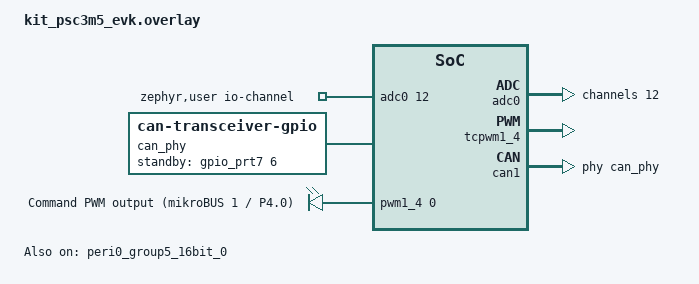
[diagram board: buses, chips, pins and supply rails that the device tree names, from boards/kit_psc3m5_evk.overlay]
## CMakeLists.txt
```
# SPDX-License-Identifier: Apache-2.0
#
# PSOC Control CAN Command & Telemetry lab - reference implementation.
#
# Build from the workspace root:
#
#   west build -b kit_psc3m6_evk -d build/lab -s <path-to-this-dir> -- \
#       '-DEXTRA_CONF_FILE=conf/role_command.conf'
#
# See ../../README.md and the lab guide for full instructions.

cmake_minimum_required(VERSION 3.20.0)

# On-board LED drive path select.
#
#   (default)        trigger-mux: route the real TCPWM PWM line to LED3
#                    (P8.4, alias led0) through the PSOC Control PERI
#                    trigger multiplexer. Hardware signal routing, no CPU
#                    in the path.
#   '-DLED_SOFTPWM=y'  fallback: bit-bang led0 from a dedicated thread.
#
# Both halves of the trigger-mux path (the source file selected by the
# Kconfig symbol and the devicetree overlay carrying the P8.4 pin-mux) are
# switched together here, so a single build flag is enough to change paths.
if(LED_SOFTPWM)
  list(APPEND EXTRA_CONF_FILE ${CMAKE_CURRENT_SOURCE_DIR}/conf/led_softpwm.conf)
else()
  list(APPEND EXTRA_DTC_OVERLAY_FILE ${CMAKE_CURRENT_SOURCE_DIR}/boards/led_trigmux.overlay)
endif()

find_package(Zephyr REQUIRED HINTS $ENV{ZEPHYR_BASE})
project(psoc_control_can_lab)

target_sources(app PRIVATE
  src/main.c
)

if(CONFIG_LAB_LED_TRIGMUX)
  target_sources(app PRIVATE src/lab_led_trigmux.c)
else()
  target_sources(app PRIVATE src/lab_led_softpwm.c)
endif()

if(CONFIG_LAB_ROLE_COMMAND)
  target_sources(app PRIVATE src/command_node.c)
elseif(CONFIG_LAB_ROLE_TELEMETRY)
  target_sources(app PRIVATE src/telemetry_node.c)
endif()
```

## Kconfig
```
# SPDX-License-Identifier: Apache-2.0
#
# PSOC Control CAN Command & Telemetry lab - node role select.
#
# Which role this build takes on is chosen by the EXTRA_CONF_FILE passed to
# `west build` (conf/role_command.conf or conf/role_telemetry.conf), not by
# editing this file directly.

mainmenu "PSOC Control CAN Command & Telemetry Lab"

choice LAB_ROLE
	prompt "CAN lab node role"
	optional
	help
	  Board A ("Command node") reads the onboard potentiometer and
	  transmits the resulting setpoint over CAN. Board B ("Telemetry
	  node") receives the setpoint over CAN and mirrors it on its own
	  LED. Both roles run from the same skeleton; only the role Kconfig
	  fragment differs at build time.

config LAB_ROLE_COMMAND
	bool "Command node (potentiometer -> local LED + CAN TX)"

config LAB_ROLE_TELEMETRY
	bool "Telemetry node (CAN RX -> LED mirror)"

endchoice

config LAB_LED_TRIGMUX
	bool "Drive the on-board LED from the TCPWM line via the PERI trigger mux"
	depends on PWM
	default y
	help
	  The default on-board LED drive path. P8.4 (LED3, alias led0) has no
	  TCPWM option in its HSIOM pin-mux table, so the real PWM waveform is
	  routed to it through the PSOC Control PERI trigger multiplexer, using
	  the pin's PERI_TR_IO_OUTPUT60 option. Brightness then costs a single
	  PWM register write, with no CPU in the signal path.

	  Zephyr has no trigger-mux binding yet, so the route is made with a
	  direct PDL Cy_TrigMux_Connect() call in src/lab_led_trigmux.c. The
	  pin-mux half comes from boards/led_trigmux.overlay, which the
	  application's CMakeLists.txt applies alongside this symbol.

	  Turn this off with '-DLED_SOFTPWM=y' on the west build command line
	  rather than editing a .conf file by hand; that selects the bit-banged
	  soft-PWM fallback in src/lab_led_softpwm.c instead.

source "Kconfig.zephyr"
```

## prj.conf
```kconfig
# SPDX-License-Identifier: Apache-2.0
#
# Reference solution config.

CONFIG_GPIO=y
CONFIG_CONSOLE=y
CONFIG_PRINTK=y
CONFIG_LOG=y
CONFIG_LOG_DEFAULT_LEVEL=3
CONFIG_LOG_MODE_IMMEDIATE=y

# Give the CAN/ADC/PWM init and soft-PWM thread a little more stack margin.
CONFIG_MAIN_STACK_SIZE=2048

# Driver subsystems used by this lab: ADC (potentiometer), PWM (brightness
# output), and CAN (setpoint TX/RX).
CONFIG_ADC=y
CONFIG_PWM=y
CONFIG_CAN=y

# The onboard TLE9251V CAN transceiver's standby pin (P7.6) is modelled as a
# can-transceiver-gpio node in the board overlay. The Infineon GPIO driver
# initialises at CONFIG_KERNEL_INIT_PRIORITY_DEVICE (50) rather than the usual
# CONFIG_GPIO_INIT_PRIORITY (40), so the transceiver's default priority of 45
# would run before its own GPIO port is ready. Move it after the GPIO driver
# but still before the CAN controller (CONFIG_CAN_INIT_PRIORITY=80).
CONFIG_CAN_TRANSCEIVER_INIT_PRIORITY=55
```

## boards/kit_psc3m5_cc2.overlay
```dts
/*
 * SPDX-License-Identifier: Apache-2.0
 *
 * PSOC Control CAN Command & Telemetry lab - devicetree overlay for
 * KIT_PSC3M5_CC2 (the MCU card inside the KIT_PSC3M5_MC1 motor-control kit).
 *
 * Shared by both roles (Command node and Telemetry node); only the
 * application code built on top differs.
 *
 * =====================================================================
 * HARDWARE-VALIDATED ON A REAL KIT_PSC3M5_CC2 (2026-09-22)
 * =====================================================================
 *
 * Boot, console, J-Link flashing and the ADC pot channel have all been
 * confirmed on physical hardware. The CAN chain is resolved from the
 * schematic and needs no devicetree transceiver node.
 *
 * P9.0 is net V2_H, a motor 2 inverter gate-drive signal on the Power Board
 * Connector X19. With no power board attached, X19 is an access header, so
 * the hardware-PWM node below is reachable with a probe or a 2-pin LED
 * harness. NEVER run this lab with a motor-control power board fitted.
 *
 * Hardware PWM still cannot reach an on-board LED: the user LEDs are on
 * P9.4/P9.5, which have no TCPWM option, so the lab keeps its software PWM.
 *
 * Everything here is derived from verified sources or measured on the board.
 */

#include <zephyr/dt-bindings/adc/adc.h>
#include <zephyr/dt-bindings/gpio/gpio.h>
#include <zephyr/dt-bindings/pwm/pwm.h>
#include <zephyr/dt-bindings/pwm/pwm_ifx_tcpwm.h>

/ {
	/*
	 * ==================================================================
	 * HPPASS SAR potentiometer channel - CONFIRMED ON HARDWARE
	 * ==================================================================
	 *
	 * Channel 12 is correct. This was measured on a real board on
	 * 2026-09-22, not inferred.
	 *
	 * The KIT_PSC3M5_CC2 ModusToolbox BSP routes the two pots to
	 *
	 *     pass[0].sar[0].muxed_sampler[0]   (CYBSP_POT / POT1)
	 *     pass[0].sar[0].muxed_sampler[1]   (CYBSP_POT2)
	 *
	 * Those are sampler indices, not channel numbers. Channels 12-15 are
	 * multiplexed onto sampler 0 and 16-19 onto sampler 1
	 * (adc_infineon_hppass_sar.c:115), so channel = 12 + 4*sampler + mux,
	 * giving POT1 = 12 and POT2 = 16, both on mux input 0 - the same
	 * input the other PSOC Control kits use.
	 *
	 * ------------------------------------------------------------------
	 * READ THIS BEFORE "FIXING" THIS NUMBER
	 * ------------------------------------------------------------------
	 * An on-board scan that declares channels 12..19 in one sequence will
	 * appear to show the pot on channel 13, not 12. That reading is an
	 * artefact of the driver, not the board. In a multi-channel sequence
	 * the results come back shifted by one position: the value printed
	 * for position N is the conversion of position N-1. Reordering the
	 * scan proved it - the full-scale reading followed the scan position,
	 * never the channel number.
	 *
	 * A single-channel build (only channel 12 declared) reads the pot
	 * correctly, because with one channel a shifted result is still that
	 * same channel. The lab only ever reads one channel, so it is not
	 * affected. See findings.md section 7.2.
	 */

	zephyr,user {
		io-channels = <&adc0 12>;
	};

	aliases {
		cmd-pwm = &pwm_cmd;
	};

	/*
	 * ==================================================================
	 * CAN transceiver control - nothing for software to do
	 * ==================================================================
	 *
	 * The CAN front end on KIT_PSC3M5_CC2 is galvanically isolated, so
	 * the signal passes through one more link than it would on a
	 * non-isolated board:
	 *
	 *   P6.3 CAN1_TX --> INA  ==||== OUTA --> TXD --+ TLE9371VSJ +-- CANH
	 *   P6.2 CAN1_RX <-- OUTB ==||== INB  <-- RXD --+  STB = GND +-- CANL
	 *                     2DIB1400F
	 *                  dual digital isolator
	 *
	 * Confirmed from the schematic:
	 *
	 *   - Pin direction matches this board's ModusToolbox BSP exactly:
	 *     P6.3 = CYBSP_CAN_TX, P6.2 = CYBSP_CAN_RX. Two independent
	 *     sources agree, so the pinctrl below is not an assumption.
	 *
	 *   - The TLE9371VSJ STB pin is tied DIRECTLY TO GND (the isolated
	 *     ground). STB is active high, so a hard ground means the
	 *     transceiver is permanently in normal mode.
	 *
	 * Consequences, and they are good ones:
	 *
	 *   - NO can-transceiver-gpio node is needed, and no `phys` property
	 *     on &can1. There is nothing for software to enable.
	 *
	 *   - The classic "bus-off ~1 ms after boot with the error counters
	 *     still reading zero" failure - a transceiver left in standby
	 *     because its STB pull-up was never released - cannot happen
	 *     here. It is designed out in hardware.
	 *
	 *   - The CAN path does not depend on a GPIO device being ready, so
	 *     GPIO driver init ordering cannot affect it either. The board's
	 *     Kconfig.defconfig still sets CAN_TRANSCEIVER_INIT_PRIORITY=55
	 *     defensively, for any future application that does add one.
	 *
	 * Validated on hardware: two boards, CANH/CANL/GND wired directly
	 * between them, no external supply or termination fitted. The
	 * isolated side is powered from the board and the link comes up.
	 */

	pwmleds {
		compatible = "pwm-leds";

		/*
		 * Command PWM output on P9.0.
		 *
		 * P9.0 is schematic net V2_H: motor 2, phase V, high-side
		 * gate drive, brought out on the Power Board Connector X19.
		 * The ModusToolbox motor-demo BSP aliases it TEST_PIN0, but
		 * that is a software alias, not a physical test point.
		 *
		 * WARNING - driving this pin is safe only with no
		 * motor-control power board attached, which is how the lab is
		 * run. With a power board fitted it would command a gate
		 * driver.
		 *
		 * P9.0 was chosen because it is one of the few free pins on
		 * this board with a DIRECT TCPWM HSIOM option - the 80-pin
		 * GPIO table gives P9_0_TCPWM0_LINE518 = HSIOM option 10, no
		 * PERI trigger mux required. The obvious alternative, the
		 * mikroBUS PWM pin (P0.1 / CYBSP_MIKROBUS_PWM), does NOT have
		 * one: its only non-GPIO options are PERI_TR_IO_INPUT1 and
		 * PERI_TR_IO_OUTPUT1.
		 *
		 * This does not reach an on-board LED - the user LEDs are on
		 * P9.4/P9.5, whose only non-GPIO HSIOM options are SCB0 SPI
		 * selects. Every pin on this board that does have a TCPWM
		 * route is inverter gate drive, so the lab keeps its software
		 * PWM for the on-board LED. That is the correct choice here,
		 * not a workaround.
		 */
		pwm_cmd: pwm_cmd_led {
			label = "Command PWM output (P9.0 / V2_H on X19)";
			pwms = <&pwm2_6 0 PWM_USEC(1000) PWM_POLARITY_NORMAL>;
		};
	};
};

&adc0 {
	status = "okay";
	#address-cells = <1>;
	#size-cells = <0>;

	/* POT1. Confirmed on hardware 2026-09-22 - see the block above. */
	channel@c {
		reg = <12>;
		zephyr,acquisition-time = <ADC_ACQ_TIME_DEFAULT>;
		zephyr,gain = "ADC_GAIN_1";
		zephyr,reference = "ADC_REF_INTERNAL";
		zephyr,resolution = <12>;
	};
};

&tcpwm2_6 {
	status = "okay";

	pwm2_6: pwm2_6 {
		status = "okay";
		clocks = <&peri0_group5_16bit_0>;
		pinctrl-0 = <&p9_0_pwm2_6>;
		pinctrl-names = "default";
	};
};

/*
 * tcpwm2_6 has clk-dst = <0x512>, i.e. peripheral group 5. The divider is
 * shared with &csg0, which the board dtsi sets to 2.
 *
 * 240 divides the 240 MHz peripheral clock to a 1 MHz counter, giving the
 * 1 kHz PWM above exactly 1000 brightness steps.
 *
 * This replaces an earlier 9600 (25 kHz counter, 50 Hz PWM). 50 Hz was slow
 * enough to see: measured on hardware 2026-10-02, the output flashed brightly
 * whenever the duty cycle changed quickly, because one disturbed period lasts
 * a full 20 ms. The TCPWM itself was cleared of blame first - CC0 and CC0_BUFF
 * tracked every request exactly and the counter was never restarted - so the
 * fix is the frequency, not the driver. At 1 kHz the same fade is smooth. */
&peri0_group5_16bit_0 {
	status = "okay";
	clock-div = <240>;
};

&pinctrl {
	p9_0_pwm2_6: p9_0_pwm2_6 {
		drive-push-pull;
	};
};

/* P9.0 (PWM, net V2_H) and P9.4/P9.5 (user LEDs). */
&gpio_prt9 {
	status = "okay";
};

/*
 * NOTE - no `phys` property and no transceiver node, deliberately.
 *
 * The TLE9371VSJ STB pin is hardwired to the isolated ground, so the
 * transceiver is always in normal mode and there is nothing for software to
 * enable. Adding a can-transceiver-gpio node here would be describing
 * hardware that does not exist. &can1 is enabled by the board dtsi and needs
 * no override.
 *
 * ---------------------------------------------------------------------
 * RESOLVED (measured on hardware, 2026-09-24) - 2DIB1400F fail-safe state
 * ---------------------------------------------------------------------
 *
 * Between the MCU and the transceiver sits a 2DIB1400F digital isolator.
 * Earlier datasheet review recorded its default output state as LOW, which
 * would have meant a latent hazard:
 *
 *     P6.3 undriven  ->  INA floating  ->  OUTA LOW  ->  TXD LOW
 *                     ->  transceiver drives a PERMANENT DOMINANT bit
 *
 * A stuck-dominant node does not merely fail itself, it jams the bus for
 * every other node on it. P6.3 is undriven from power-on until the CAN
 * driver applies pinctrl, and indefinitely if the board is unprogrammed,
 * held in reset, or halted at a debugger breakpoint before CAN init.
 *
 * THE HAZARD DOES NOT EXIST ON THIS BOARD. Measured with two boards on one
 * bus, no multimeter required. One board was held in its post-reset halted
 * state (JLink: connect / r / h / Sleep), which is the exact worst case -
 * peripherals reset, CAN pins back to Hi-Z inputs, isolator input undriven.
 * It was confirmed genuinely held by its console going completely silent.
 *
 * The surviving board then reported, once every 5 s:
 *
 *     CAN send failed (-11) state=2 tx_err=0 rx_err=123 (601 dropped)
 *
 * state=2 is CAN_STATE_ERROR_PASSIVE, not CAN_STATE_BUS_OFF (3), and the
 * error counters stayed pinned at 123 across four samples 15 s apart while
 * only the dropped counter advanced. That is the signature of losing the
 * ACK partner. A bus held dominant would instead produce continuous bit
 * errors, runaway counters and bus-off. So the isolator output does NOT
 * idle dominant when its input is undriven.
 *
 * Recovery is automatic: on release the held board rebooted, the link came
 * back with no power cycle and no intervention, and a following 15 s window
 * logged zero warnings on either node. An attendee can therefore reset or
 * reflash one board mid-lab without disturbing their partner's board beyond
 * a transient warning that clears itself.
 *
 * No devicetree mitigation is needed. This also means the rejected fix -
 * adding `bias-pull-up` to p6_3_can1_tx, which risked conflicting with
 * `drive-push-pull` in the Infineon cat1 pinctrl binding where drive mode
 * is a single register field rather than independent flags - stays
 * correctly rejected, now for a measured reason rather than caution.
 */
```

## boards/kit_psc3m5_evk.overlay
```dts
/*
 * SPDX-License-Identifier: Apache-2.0
 *
 * PSOC Control CAN Command & Telemetry lab - devicetree overlay
 * (reference solution).
 *
 * Shared by both roles (Command node and Telemetry node) - the physical
 * board is identical either way, only the application code built on top of
 * it differs.
 *
 * CAN is already enabled by default in this board's base devicetree
 * (kit_psc3m5_evk-common.dtsi enables canfd0/can1, and `zephyr,canbus` is
 * already chosen).
 *
 * HOWEVER: the board's CAN screw terminals are fed by an onboard
 * TLE9251VLEXUMA1 transceiver whose STB (standby) pin is wired to P7.6.
 * STB has an internal pull-up, so the transceiver powers up in STANDBY -
 * the transmitter is disabled and the node cannot acknowledge frames. The
 * upstream board devicetree does not model the transceiver at all, so
 * nothing releases STB and every transmission fails to get an ACK, driving
 * the controller bus-off within ~1 ms (can_send() returns -ENETUNREACH).
 *
 * The node below models the transceiver so Zephyr's CAN core drives STB low
 * on can_start() and back high on can_stop(). This is a gap in the board
 * support package, not in this lab - see the lab guide's troubleshooting
 * section.
 */

#include <zephyr/dt-bindings/adc/adc.h>
#include <zephyr/dt-bindings/gpio/gpio.h>
#include <zephyr/dt-bindings/pwm/pwm.h>
#include <zephyr/dt-bindings/pwm/pwm_ifx_tcpwm.h>

/ {
	zephyr,user {
		/* Onboard potentiometer: HPPASS SAR ADC channel 12
		 * ("CYBSP_POT" in the ModusToolbox BSP for this board).
		 */
		io-channels = <&adc0 12>;
	};

	aliases {
		cmd-pwm = &pwm_cmd;
	};

	/* Onboard TLE9251VLEXUMA1 CAN transceiver. STB (standby) is on P7.6 and
	 * is active-high: driven low = normal mode, high/floating = standby.
	 */
	can_phy: can-phy {
		compatible = "can-transceiver-gpio";
		standby-gpios = <&gpio_prt7 6 GPIO_ACTIVE_HIGH>;
		max-bitrate = <5000000>;
		#phy-cells = <0>;
	};

	pwmleds {
		compatible = "pwm-leds";

		pwm_cmd: pwm_cmd_led {
			label = "Command PWM output (mikroBUS 1 / P4.0)";
			pwms = <&pwm1_4 0 PWM_USEC(1000) PWM_POLARITY_NORMAL>;
		};
	};
};

&adc0 {
	status = "okay";
	#address-cells = <1>;
	#size-cells = <0>;

	channel@c {
		reg = <12>;
		zephyr,acquisition-time = <ADC_ACQ_TIME_DEFAULT>;
		zephyr,gain = "ADC_GAIN_1";
		zephyr,reference = "ADC_REF_INTERNAL";
		zephyr,resolution = <12>;
	};
};

&tcpwm1_4 {
	status = "okay";

	pwm1_4: pwm1_4 {
		status = "okay";
		clocks = <&peri0_group5_16bit_0>;
		pinctrl-0 = <&p4_0_pwm1_4>;
		pinctrl-names = "default";
	};
};

/*
 * The divider is shared with &csg0, which the board dtsi sets to 2. 240
 * divides the 240 MHz peripheral clock to a 1 MHz counter, giving the 1 kHz
 * PWM above exactly 1000 brightness steps.
 *
 * This replaces an earlier 9600 (25 kHz counter, 50 Hz PWM). 50 Hz was slow
 * enough to see: measured on KIT_PSC3M5_CC2 2026-10-02, the output flashed
 * brightly whenever the duty cycle changed quickly, because one disturbed
 * period lasts a full 20 ms. The TCPWM itself was cleared of blame first -
 * CC0 and CC0_BUFF tracked every request exactly and the counter was never
 * restarted - so the fix is the frequency, not the driver. Both boards use
 * the same group 5 divider, so both carry the same change.
 */
&peri0_group5_16bit_0 {	status = "okay";
	clock-div = <240>;
};

&pinctrl {
	p4_0_pwm1_4: p4_0_pwm1_4 {
		drive-push-pull;
	};
};

&gpio_prt4 {
	status = "okay";
};

/* Required so the transceiver's STB pin (P7.6) can be driven. */
&gpio_prt7 {
	status = "okay";
};

&can1 {
	phys = <&can_phy>;
};
```

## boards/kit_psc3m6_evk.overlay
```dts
/*
 * SPDX-License-Identifier: Apache-2.0
 *
 * PSOC Control CAN Command & Telemetry lab - devicetree overlay for
 * KIT_PSC3M6_EVAL (PSOC Control C3M6 Evaluation Kit).
 *
 * Shared by both roles (Command node and Telemetry node); only the
 * application code built on top differs.
 *
 * The board devicetree already describes everything this lab drives:
 *
 *   - CAN FD on canfd0/can1 (P5.2 RX, P5.3 TX) with a can-transceiver-gpio
 *     node (can_phy0, standby on P12.5).
 *   - The on-board potentiometer as SAR ADC channel 12 on AN_B4, including
 *     gain, reference, resolution and acquisition time.
 *   - A hardware PWM output on P5.0 (tcpwm0_6 / pwm0_6) with its peripheral
 *     clock divider and push-pull pinctrl.
 *
 * This overlay nominates which of those the application consumes.
 *
 * Docs: what an overlay is and why it exists
 *   https://docs.zephyrproject.org/latest/build/dts/intro.html
 */

#include <zephyr/dt-bindings/pwm/pwm.h>

/ {
	/*
	 * The Command node reads the potentiometer to produce its setpoint.
	 * ADC channel 12 is the pot, on AN_B4 - the first input of mux
	 * sampler 0.
	 */
	zephyr,user {
		io-channels = <&adc0 12>;
	};

	aliases {
		cmd-pwm = &pwm_cmd;
	};

	/*
	 * Command PWM output on P5.0, brought out on header J21 pin 11, next
	 * to the CAN pins (P5.2/P5.3). It is an ordinary signal pin, safe to
	 * probe or to drive a 2-pin LED harness (GND is on J21 pin 2).
	 */
	pwmleds {
		compatible = "pwm-leds";

		pwm_cmd: pwm_cmd_led {
			label = "Command PWM output (P5.0)";
			pwms = <&pwm0_6 0 PWM_USEC(1000) PWM_POLARITY_NORMAL>;
		};
	};
};
```

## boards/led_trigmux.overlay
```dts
/*
 * SPDX-License-Identifier: Apache-2.0
 *
 * PSOC Control CAN Command & Telemetry lab - trigger-mux LED overlay.
 *
 * Applied automatically on top of kit_psc3m6_evk.overlay unless the
 * application is built with -DLED_SOFTPWM=y (see CMakeLists.txt).
 *
 * This is the pin-mux half of the trigger-mux route: P8.4 (LED3, alias
 * led0) is switched from plain GPIO to its PERI_TR_IO_OUTPUT60 HSIOM
 * option, so the trigger mux output made by Cy_TrigMux_Connect() in
 * src/lab_led_trigmux.c actually reaches the pin.
 *
 * The new pin is appended to the PWM channel's own pinctrl-0 state so the
 * TCPWM driver applies it during normal initialisation - no extra device
 * and no extra driver are needed.
 */

#include <zephyr/dt-bindings/pinctrl/ifx_cat1-pinctrl.h>

&pinctrl {
	/*
	 * HSIOM_SEL_ACT_15 is mode 27, which on P8.4 selects
	 * PERI_TR_IO_OUTPUT60.
	 */
	p8_4_tr_io_output60: p8_4_tr_io_output60 {
		pinmux = <DT_CAT1_PINMUX(8, 4, HSIOM_SEL_ACT_15)>;
		drive-push-pull;
	};
};

&gpio_prt8 {
	status = "okay";
};

&pwm0_6 {
	pinctrl-0 = <&p5_0_pwm0_6 &p8_4_tr_io_output60>;
	pinctrl-names = "default";
};
```

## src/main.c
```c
/*
 * SPDX-License-Identifier: Apache-2.0
 *
 * PSOC Control CAN Command & Telemetry lab - entry point.
 *
 * Provided, not a lab touchpoint. Dispatches to the role-specific
 * implementation selected by the Kconfig fragment passed at build time
 * (conf/role_command.conf or conf/role_telemetry.conf).
 */

#include <zephyr/kernel.h>

#if defined(CONFIG_LAB_ROLE_COMMAND)
void run_command_node(void);
#elif defined(CONFIG_LAB_ROLE_TELEMETRY)
void run_telemetry_node(void);
#else
#error "Select a lab role: add -- '-DEXTRA_CONF_FILE=conf/role_command.conf' (or role_telemetry.conf) to your west build command. The single quotes matter on Windows."
#endif

int main(void)
{
#if defined(CONFIG_LAB_ROLE_COMMAND)
	run_command_node();
#elif defined(CONFIG_LAB_ROLE_TELEMETRY)
	run_telemetry_node();
#endif
	return 0;
}
```

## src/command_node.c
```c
/*
 * SPDX-License-Identifier: Apache-2.0
 *
 * PSOC Control CAN Command & Telemetry lab - Board A "Command node"
 * (full reference solution).
 *
 * Reads the onboard potentiometer, derives a 0-255 setpoint, drives the
 * local brightness output (user LED on P8.4 plus the PWM pin P5.0), and
 * transmits the setpoint over CAN so the paired "Telemetry node" board can
 * mirror it.
 *
 * PRODUCTION TIER. This is not one of the three difficulty tiers and has no
 * TODOs - nobody writes this during the hour. It is how the same application
 * would be written for real. Compared with can-lab-cheat/ it adds:
 *
 *   - return-code checks on every driver call, not just the ones that catch
 *     a likely classroom mistake;
 *   - detection of a second command node on the bus (see below), the most
 *     common and most deceptive way the paired lab is mis-flashed;
 *   - richer diagnostics on a failed send (controller state and error
 *     counters, not just the errno).
 *
 * Show this version to customers. The three attendee tiers are deliberately
 * simplified so they can be read and typed inside a 60-minute session.
 */

#include <zephyr/kernel.h>
#include <zephyr/device.h>
#include <zephyr/devicetree.h>
#include <zephyr/drivers/gpio.h>
#include <zephyr/drivers/adc.h>
#include <zephyr/drivers/can.h>
#include <zephyr/sys/atomic.h>
#include <zephyr/logging/log.h>

#include "can_protocol.h"
#include "lab_led.h"

LOG_MODULE_REGISTER(command_node, LOG_LEVEL_INF);

#define SAMPLE_PERIOD_MS 50
#define CAN_BITRATE      500000

/*
 * Bus-state indicator on LED4 (P8.5, alias led1).
 *
 * Lit means the controller is error-active, which is the healthy state. It
 * goes dark the moment the controller drops to error-passive or bus-off -
 * which is what a node alone on the bus, or one whose bitrate disagrees with
 * its partner, does within a second or two. The lab's central failure mode,
 * made physical, without needing the console.
 *
 * This works here because the command node transmits: unacknowledged frames
 * drive the transmit error counter up. The telemetry node cannot use the same
 * signal and blinks on reception instead - see telemetry_node.c.
 */
static const struct gpio_dt_spec bus_led = GPIO_DT_SPEC_GET(DT_ALIAS(led1), gpios);

static void bus_state_cb(const struct device *dev, enum can_state state,
			 struct can_bus_err_cnt err_cnt, void *user_data)
{
	ARG_UNUSED(dev);
	ARG_UNUSED(err_cnt);
	ARG_UNUSED(user_data);

	/* Runs in driver context, so it does nothing but set a pin. */
	gpio_pin_set_dt(&bus_led, state == CAN_STATE_ERROR_ACTIVE ? 1 : 0);
}

static const struct adc_dt_spec pot_adc = ADC_DT_SPEC_GET(DT_PATH(zephyr_user));

static const struct device *const can_dev = DEVICE_DT_GET(DT_CHOSEN(zephyr_canbus));

/*
 * Duplicate-command-node detection.
 *
 * The most common way this lab goes wrong is both partners flashing the
 * command role. It is electrically harmless - CAN is multi-master, and every
 * node ACKs any valid frame it receives regardless of its own filters, so the
 * two boards acknowledge each other and the bus stays error-free. That is
 * exactly what makes it dangerous: each board's LED follows its own
 * potentiometer, so it *looks* like the lab is working while no data is
 * actually crossing the wire.
 *
 * In CAN_MODE_NORMAL a controller does not receive its own transmissions, so
 * a setpoint frame arriving at a command node can only have come from a
 * second command node. That makes this check exact - no false positives.
 */
static atomic_t peer_setpoint_frames;

static void peer_setpoint_cb(const struct device *dev, struct can_frame *frame,
			     void *user_data)
{
	ARG_UNUSED(dev);
	ARG_UNUSED(frame);
	ARG_UNUSED(user_data);

	atomic_inc(&peer_setpoint_frames);
}

static void warn_if_duplicate_command_node(void)
{
	static bool warned;

	if (warned || atomic_get(&peer_setpoint_frames) == 0) {
		return;
	}

	warned = true;
	LOG_ERR("Another node is transmitting setpoints on ID 0x%x - both "
		"boards look like they are flashed as the COMMAND node.",
		CAN_ID_SETPOINT);
	LOG_ERR("Re-flash one board with conf/role_telemetry.conf. Until then "
		"each LED only follows its own knob.");
}

static uint8_t read_setpoint(void)
{
	int16_t sample = 0;
	struct adc_sequence seq = {
		.buffer = &sample,
		.buffer_size = sizeof(sample),
	};

	(void)adc_sequence_init_dt(&pot_adc, &seq);
	if (adc_read_dt(&pot_adc, &seq) != 0) {
		return 128;
	}

	if (sample < 0) {
		sample = 0;
	}

	/* 12-bit sample (0-4095) -> 8-bit setpoint (0-255). */
	return (uint8_t)(sample >> 4);
}

/*
 * Handed to can_send() so that transmission is fire-and-forget. Runs in
 * driver context, so it does nothing but bump an atomic counter.
 *
 * Passing a callback rather than NULL is not optional. With a NULL
 * callback Zephyr waits K_FOREVER for the frame to be acknowledged (the
 * `timeout` argument only bounds the wait for a free TX mailbox), and a
 * node alone on the bus is never acknowledged - the controller settles at
 * error-passive rather than bus-off and retransmits indefinitely, so the
 * application deadlocks on its first send.
 */
static atomic_t tx_failures;

static void tx_done_cb(const struct device *dev, int error, void *user_data)
{
	ARG_UNUSED(dev);
	ARG_UNUSED(user_data);

	if (error != 0) {
		atomic_inc(&tx_failures);
	}
}

static void send_setpoint(uint8_t setpoint)
{
	struct can_frame frame = {
		.id = CAN_ID_SETPOINT,
		.dlc = CAN_DLC_SETPOINT,
		.data = {setpoint},
	};

	int err = can_send(can_dev, &frame, K_NO_WAIT, tx_done_cb, NULL);
	static uint32_t fails;

	if (err != 0) {
		/* Alone on the bus, nothing acknowledges our frames, so the
		 * controller retransmits them forever and all TX mailboxes
		 * stay occupied - K_NO_WAIT then returns -EAGAIN immediately
		 * rather than stalling the control loop. Warn on the first
		 * failure and every 5 s after, so the setpoint trace stays
		 * readable at 20 sends per second.
		 */
		if ((fails++ % (5000U / SAMPLE_PERIOD_MS)) == 0U) {
			enum can_state state = CAN_STATE_ERROR_ACTIVE;
			struct can_bus_err_cnt err_cnt = {0};

			(void)can_get_state(can_dev, &state, &err_cnt);

			LOG_WRN("CAN send failed (%d) state=%d tx_err=%u "
				"rx_err=%u (%u dropped, %ld aborted) - is the "
				"second board powered and wired?", err,
				(int)state, err_cnt.tx_err_cnt,
				err_cnt.rx_err_cnt, fails,
				(long)atomic_get(&tx_failures));
		}
	} else if (fails != 0U) {
		LOG_INF("CAN send recovered after %u failures - partner board "
			"is on the bus", fails);
		fails = 0U;
	}
}

void run_command_node(void)
{
	LOG_INF("Command node starting (PSOC Control CAN lab)");
	LOG_INF("can-lab-production build stamp: " __DATE__ " " __TIME__);

	if (!device_is_ready(can_dev)) {
		LOG_ERR("CAN device not ready");
		return;
	}

	int err = can_set_bitrate(can_dev, CAN_BITRATE);

	if (err != 0) {
		LOG_ERR("can_set_bitrate() failed (%d)", err);
		return;
	}

	err = can_set_mode(can_dev, CAN_MODE_NORMAL);
	if (err != 0) {
		LOG_ERR("can_set_mode() failed (%d)", err);
		return;
	}

	/* Must be registered before the controller starts, so that the very
	 * first transition out of error-active is reported.
	 */
	gpio_pin_configure_dt(&bus_led, GPIO_OUTPUT_INACTIVE);
	can_set_state_change_callback(can_dev, bus_state_cb, NULL);

	err = can_start(can_dev);
	if (err != 0) {
		LOG_ERR("can_start() failed (%d)", err);
		return;
	}

	/* The callback only fires on a transition, and starting on a healthy
	 * bus is not one, so seed the LED from the current state.
	 */
	{
		enum can_state state = CAN_STATE_ERROR_ACTIVE;

		(void)can_get_state(can_dev, &state, NULL);
		gpio_pin_set_dt(&bus_led, state == CAN_STATE_ERROR_ACTIVE ? 1 : 0);
	}
	/* Listen for setpoint frames we did not send - see the comment on
	 * peer_setpoint_frames above. Non-fatal: a full filter bank costs us
	 * the diagnostic, not the lab.
	 */
	const struct can_filter setpoint_filter = {
		.id = CAN_ID_SETPOINT,
		.mask = CAN_STD_ID_MASK,
	};

	err = can_add_rx_filter(can_dev, peer_setpoint_cb, NULL, &setpoint_filter);
	if (err < 0) {
		LOG_WRN("Could not register the duplicate-node filter (%d); "
			"continuing without that check", err);
	}

	lab_led_init();
	adc_channel_setup_dt(&pot_adc);

	while (1) {
		uint8_t setpoint = read_setpoint();

		/* Print the setpoint about twice a second so the knob position
		 * is visible on the console as well as on the LED.
		 */
		static uint32_t tick;

		if ((tick++ % (500U / SAMPLE_PERIOD_MS)) == 0U) {
			LOG_INF("setpoint %3u (%u%%)", setpoint,
				(setpoint * 100U) / 255U);
		}

		/* Local brightness feedback: the user LED on P8.4 plus the
		 * hardware PWM pin P5.0 on header J21 pin 11, both driven
		 * by the helper.
		 */
		lab_led_set_duty(setpoint);

		send_setpoint(setpoint);

		warn_if_duplicate_command_node();

		k_msleep(SAMPLE_PERIOD_MS);
	}
}
```

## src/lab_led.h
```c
/*
 * SPDX-License-Identifier: Apache-2.0
 *
 * PSOC Control CAN Command & Telemetry lab - brightness output.
 *
 * Provided helper, not a lab touchpoint.
 *
 * The user LEDs on P8.4 and P8.5 have no TCPWM route in their HSIOM
 * pin-mux tables, so a hardware PWM signal cannot be muxed onto them
 * directly. Two back-ends solve that, selected at build time:
 *
 *   lab_led_trigmux.c  (default) routes the real TCPWM waveform to P8.4
 *                      through the PSOC Control PERI trigger multiplexer,
 *                      via the pin's PERI_TR_IO_OUTPUT60 HSIOM option.
 *   lab_led_softpwm.c  (-DLED_SOFTPWM=y) bit-bangs P8.4 from a dedicated
 *                      thread.
 *
 * The hardware PWM channel is also brought out on P5.0, header J21 pin 11,
 * where it can be probed or used to drive an external load.
 */

#ifndef PSOC_CONTROL_CAN_LAB_LAB_LED_H_
#define PSOC_CONTROL_CAN_LAB_LAB_LED_H_

#include <stdint.h>

/* Bring up the brightness output (user LED on P8.4, alias led0). */
void lab_led_init(void);

/*
 * Update the brightness duty cycle, 0 (off) - 255 (fully on).
 *
 * Drives both the user LED on P8.4 (silkscreen LED3, alias led0) and the
 * hardware PWM channel on P5.0. Under the trigger-mux back-end both are
 * the same TCPWM channel, so one register write covers them; under the
 * soft-PWM fallback the LED is bit-banged and the PWM channel is
 * programmed separately.
 */
void lab_led_set_duty(uint8_t duty_0_255);

#endif /* PSOC_CONTROL_CAN_LAB_LAB_LED_H_ */
```

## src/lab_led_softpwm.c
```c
/*
 * SPDX-License-Identifier: Apache-2.0
 *
 * PSOC Control CAN Command & Telemetry lab - soft-PWM LED back-end
 * (fallback path, selected with -DLED_SOFTPWM=y).
 *
 * Provided helper, not a lab touchpoint - see lab_led.h for why this
 * exists. Implemented as a dedicated thread that bit-bangs the led0 alias.
 *
 * The ON pulse is timed with k_busy_wait() so brightness is smooth and
 * independent of the kernel tick rate, but the OFF phase uses k_sleep()
 * so the thread actually blocks. That matters: k_busy_wait() spins
 * without yielding, so a thread that only ever busy-waits will starve
 * every lower-priority thread - including the logging thread, which
 * silently costs you all console output (boot banner included).
 */

#include "lab_led.h"

#include <zephyr/kernel.h>
#include <zephyr/device.h>
#include <zephyr/devicetree.h>
#include <zephyr/drivers/gpio.h>
#include <zephyr/drivers/pwm.h>
#include <zephyr/sys/atomic.h>
#include <zephyr/sys/util.h>

#define SOFT_PWM_PERIOD_USEC 2000U /* 500 Hz - smooth to the eye, no flicker */
#define SOFT_PWM_STACK_SIZE  512
#define SOFT_PWM_THREAD_PRIO 7

/* Guarantees the thread blocks at least once per period even at full
 * brightness. Caps usable duty just under 100%, which the eye cannot see.
 */
#define SOFT_PWM_MIN_SLEEP_USEC 50U

static const struct gpio_dt_spec led0 = GPIO_DT_SPEC_GET(DT_ALIAS(led0), gpios);
static const struct pwm_dt_spec cmd_pwm = PWM_DT_SPEC_GET(DT_ALIAS(cmd_pwm));
static atomic_t duty_atomic;

static void soft_pwm_thread(void *a, void *b, void *c)
{
	ARG_UNUSED(a);
	ARG_UNUSED(b);
	ARG_UNUSED(c);

	while (1) {
		uint8_t duty = (uint8_t)atomic_get(&duty_atomic);
		uint32_t on_us = (SOFT_PWM_PERIOD_USEC * duty) / 255U;
		uint32_t off_us = SOFT_PWM_PERIOD_USEC - on_us;

		/* Both extremes are steady states, not pulse trains. Sending
		 * them round the pulse loop below would leave a sliver of the
		 * opposite level at one end, because the off phase can never
		 * be shorter than SOFT_PWM_MIN_SLEEP_USEC - so "off" would
		 * never quite extinguish.
		 */
		if (duty == 0U) {
			gpio_pin_set_dt(&led0, 0);
			k_sleep(K_MSEC(5));
			continue;
		}

		if (duty == UINT8_MAX) {
			gpio_pin_set_dt(&led0, 1);
			k_sleep(K_MSEC(5));
			continue;
		}

		gpio_pin_set_dt(&led0, 1);
		k_busy_wait(on_us);

		gpio_pin_set_dt(&led0, 0);
		k_sleep(K_USEC(MAX(off_us, SOFT_PWM_MIN_SLEEP_USEC)));
	}
}

K_THREAD_DEFINE(soft_pwm_tid, SOFT_PWM_STACK_SIZE, soft_pwm_thread, NULL, NULL, NULL,
		 K_PRIO_PREEMPT(SOFT_PWM_THREAD_PRIO), 0, 0);

void lab_led_init(void)
{
	atomic_set(&duty_atomic, 0);
	gpio_pin_configure_dt(&led0, GPIO_OUTPUT_INACTIVE);
}

void lab_led_set_duty(uint8_t duty_0_255)
{
	atomic_set(&duty_atomic, duty_0_255);

	/* Same duty on the real hardware PWM pin (P5.0). */
	(void)pwm_set_pulse_dt(&cmd_pwm,
			       (uint32_t)((uint64_t)cmd_pwm.period * duty_0_255 / 255U));
}
```

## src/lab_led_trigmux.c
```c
/*
 * SPDX-License-Identifier: Apache-2.0
 *
 * PSOC Control CAN Command & Telemetry lab - trigger-mux LED back-end
 * (default path: real hardware PWM on the on-board LED).
 *
 * Provided helper, not a lab touchpoint.
 *
 * WHY THIS EXISTS
 * ---------------
 * P8.4 (LED3, alias led0) has no TCPWM option in its HSIOM table. On the
 * C3M6 the only non-GPIO options are SCB5_SPI_SELECT1,
 * PERI_TR_IO_INPUT60, PERI_TR_IO_OUTPUT60 and PERI_TR_IO_OUTPUT128. So a
 * TCPWM output cannot be pin-muxed directly onto the LED.
 *
 * It can, however, reach the pin the long way round. The TCPWM counter's
 * trigger output *line* carries the PWM waveform itself - not just the
 * overflow/compare event strobes - and the PERI trigger multiplexer can
 * route that line to a "trigger IO output", which *is* a HSIOM option on
 * P8.4:
 *
 *     tcpwm0_6 tr_line[6]  ->  PERI trigger mux group 2
 *                          ->  HSIOM TR_IO_OUTPUT60  ->  P8.4 (led0)
 *
 * This is the PSOC Control trigger multiplexer doing what it exists for:
 * hardware-to-hardware signal routing with no CPU in the path. Once the
 * route is made, brightness costs exactly one PWM compare-register write -
 * no thread, no bit-banging, no jitter.
 *
 * Zephyr has no driver or devicetree binding for the PERI trigger mux, so
 * the route is made here with a direct PDL call. That is the sanctioned
 * interim approach, not a workaround being smuggled in. The pin-mux half of
 * the job is done in devicetree - see boards/led_trigmux.overlay.
 *
 * If this back-end ever misbehaves, rebuild with -DLED_SOFTPWM=y to fall
 * back to the bit-banged path in src/lab_led_softpwm.c.
 */

#include "lab_led.h"

#include <zephyr/kernel.h>
#include <zephyr/device.h>
#include <zephyr/devicetree.h>
#include <zephyr/drivers/pwm.h>
#include <zephyr/logging/log.h>

#include <cy_trigmux.h>

LOG_MODULE_REGISTER(lab_led_trigmux, LOG_LEVEL_INF);

/*
 * Trigger mux endpoints for this board.
 *
 * Input:  pwm0_6 sits on tcpwm0_6 - TCPWM0 group 0, counter 6. Group 0's
 *         trigger lines are numbered from 0, so counter 6 is line 6.
 * Output: HSIOM trigger IO output 60, which is the P8.4 (led0) option.
 *
 * Both endpoints live in mux group 2 (hence the _MUX_2_ in both names), so
 * the connection is legal in a single Cy_TrigMux_Connect() call. Both
 * constants come from the C3M6 device configuration header pulled in by the
 * PDL; they are not board-specific magic numbers.
 */
#define LAB_LED_TRIG_IN  TRIG_IN_MUX_2_TCPWM0_GRP0_LINE_6
#define LAB_LED_TRIG_OUT TRIG_OUT_MUX_2_HSIOM_TR_IO_OUTPUT60

/*
 * The on-board LEDs are active low (anode to VTARG_REF, cathode to the pin)
 * and the PWM channel is configured with normal polarity, so invert the line
 * on its way through the mux.
 *
 * Level - not edge - triggering is what makes the mux pass the waveform
 * through. Edge mode emits a fixed two-cycle pulse per rising edge, which
 * would discard the duty-cycle information that *is* the PWM.
 */
#define LAB_LED_TRIG_INVERT true
#define LAB_LED_TRIG_TYPE   TRIGGER_TYPE_LEVEL

static const struct pwm_dt_spec cmd_pwm = PWM_DT_SPEC_GET(DT_ALIAS(cmd_pwm));

void lab_led_init(void)
{
	cy_en_trigmux_status_t status =
		Cy_TrigMux_Connect(LAB_LED_TRIG_IN, LAB_LED_TRIG_OUT, LAB_LED_TRIG_INVERT,
				   LAB_LED_TRIG_TYPE);

	if (status != CY_TRIGMUX_SUCCESS) {
		LOG_ERR("Trigger mux connect failed (0x%08x) - on-board LED will stay dark. "
			"Rebuild with -DLED_SOFTPWM=y to use the bit-banged fallback.",
			(unsigned int)status);
		return;
	}

	LOG_INF("On-board LED3 (P8.4) driven by tcpwm0_6 via the PERI trigger mux");
}

void lab_led_set_duty(uint8_t duty_0_255)
{
	/*
	 * One write covers both outputs. The on-board LED is wired - through
	 * the trigger mux - to the very same TCPWM channel as the P5.0 header
	 * pin, so it follows this duty cycle automatically.
	 */
	(void)pwm_set_pulse_dt(&cmd_pwm,
			       (uint32_t)((uint64_t)cmd_pwm.period * duty_0_255 / 255U));
}
```

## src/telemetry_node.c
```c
/*
 * SPDX-License-Identifier: Apache-2.0
 *
 * PSOC Control CAN Command & Telemetry lab - Board B "Telemetry node"
 * (reference solution).
 *
 * Receives the setpoint sent by the paired "Command node" board over CAN
 * and mirrors it on the local brightness output (user LED on P8.4 plus
 * the PWM pin P5.0).
 */

#include <zephyr/kernel.h>
#include <zephyr/device.h>
#include <zephyr/devicetree.h>
#include <zephyr/drivers/gpio.h>
#include <zephyr/drivers/can.h>
#include <zephyr/logging/log.h>

#include "can_protocol.h"
#include "lab_led.h"

LOG_MODULE_REGISTER(telemetry_node, LOG_LEVEL_INF);

#define CAN_BITRATE 500000
#define RX_TIMEOUT  K_MSEC(500)

/* Half-period of the receive heartbeat, so the LED blinks at about 1 Hz. */
#define ACTIVITY_BLINK_MS 500

/*
 * Receive-activity indicator on LED4 (P8.5, alias led1).
 *
 * Blinking at about 1 Hz means setpoint frames are arriving; dark means they
 * have stopped. This deliberately differs from the command node, which drives
 * the same LED from the CAN controller's error state.
 *
 * The reason is that error state tells a receiver almost nothing. A node that
 * only receives never transmits, so it never collects transmit errors - pull
 * the bus wires and it simply sees silence and stays error-active, with the
 * LED stuck on. Blinking on reception is the honest signal, and it has the
 * useful side effect of identifying which board is which from across the room.
 */
static const struct gpio_dt_spec activity_led = GPIO_DT_SPEC_GET(DT_ALIAS(led1), gpios);

static const struct device *const can_dev = DEVICE_DT_GET(DT_CHOSEN(zephyr_canbus));

/*
 * Depth 16, not 4. Setpoints arrive at a steady 20 Hz, which one frame of
 * queue would absorb - but reconnecting a pulled CAN wire flushes the command
 * node's transmit FIFO in one burst, and a shallow queue drops frames and
 * prints `can_common: Msgq overflowed` the moment the lab starts working
 * again. The lab guide asks attendees to pull that wire, so the burst is a
 * normal event here rather than an exceptional one.
 */
CAN_MSGQ_DEFINE(setpoint_msgq, 16);

/* Zephyr has no public can_state_str(), so the lab carries its own. */
static const char *state_name(enum can_state state)
{
	switch (state) {
	case CAN_STATE_ERROR_ACTIVE:
		return "error-active (bus is healthy - nobody is transmitting)";
	case CAN_STATE_ERROR_WARNING:
		return "error-warning (errors are accumulating)";
	case CAN_STATE_ERROR_PASSIVE:
		return "error-passive (too many errors - check the wiring)";
	case CAN_STATE_BUS_OFF:
		return "bus-off (controller has removed itself from the bus)";
	case CAN_STATE_STOPPED:
		return "stopped";
	default:
		return "unknown";
	}
}

static uint8_t unpack_setpoint(const struct can_frame *frame)
{
	if (frame->dlc < CAN_DLC_SETPOINT) {
		return 128;
	}

	return frame->data[0];
}

void run_telemetry_node(void)
{
	LOG_INF("Telemetry node starting (PSOC Control CAN lab)");
	LOG_INF("can-lab-production build stamp: " __DATE__ " " __TIME__);

	if (!device_is_ready(can_dev)) {
		LOG_ERR("CAN device not ready");
		return;
	}

	int err = can_set_bitrate(can_dev, CAN_BITRATE);

	if (err != 0) {
		LOG_ERR("can_set_bitrate() failed (%d)", err);
		return;
	}

	err = can_set_mode(can_dev, CAN_MODE_NORMAL);
	if (err != 0) {
		LOG_ERR("can_set_mode() failed (%d)", err);
		return;
	}

	/* Starts dark; the receive loop below blinks it once frames arrive. */
	gpio_pin_configure_dt(&activity_led, GPIO_OUTPUT_INACTIVE);

	err = can_start(can_dev);
	if (err != 0) {
		LOG_ERR("can_start() failed (%d)", err);
		return;
	}

	const struct can_filter setpoint_filter = {
		.id = CAN_ID_SETPOINT,
		.mask = CAN_STD_ID_MASK,
	};

	if (can_add_rx_filter_msgq(can_dev, &setpoint_msgq, &setpoint_filter) < 0) {
		LOG_ERR("Failed to add CAN RX filter");
		return;
	}

	lab_led_init();

	struct can_frame frame;
	bool link_up = false;
	int64_t last_log = 0;
	int64_t last_blink = 0;

	while (1) {
		if (k_msgq_get(&setpoint_msgq, &frame, RX_TIMEOUT) != 0) {
			/* No frame yet - keep the last known brightness, but
			 * stop the heartbeat so the stall is visible from the
			 * back of the room as well as on the console.
			 */
			gpio_pin_set_dt(&activity_led, 0);
			last_blink = 0;

			if (link_up) {
				enum can_state state = CAN_STATE_ERROR_ACTIVE;

				LOG_WRN("No setpoint for %d ms - is the command node "
					"powered and wired?",
					(int)k_ticks_to_ms_floor32(RX_TIMEOUT.ticks));
				link_up = false;

				/* Why the data stopped is the one thing this node
				 * cannot infer. It only receives, so it never
				 * accumulates transmit errors and stays error-active
				 * with the bus wires pulled out. "Healthy bus, nobody
				 * transmitting" and "bus in trouble" are different
				 * faults that look identical from here until asked.
				 */
				err = can_get_state(can_dev, &state, NULL);
				if (err != 0) {
					LOG_ERR("can_get_state() failed (%d)", err);
				} else {
					LOG_WRN("CAN controller is %s", state_name(state));
				}
			}
			continue;
		}

		uint8_t setpoint = unpack_setpoint(&frame);

		lab_led_set_duty(setpoint);

		if (!link_up) {
			LOG_INF("CAN link up - receiving setpoints");
			link_up = true;
		}

		int64_t now = k_uptime_get();

		/* Timed rather than one toggle per frame: setpoints arrive at
		 * 20 Hz, which the eye reads as a steady dim glow rather than
		 * as activity.
		 */
		if (now - last_blink >= ACTIVITY_BLINK_MS) {
			last_blink = now;
			gpio_pin_toggle_dt(&activity_led);
		}

		/* Rate-limit to ~2 Hz so the console stays readable. */
		if (now - last_log >= 500) {
			last_log = now;
			LOG_INF("setpoint %u (%u%%)", setpoint, (setpoint * 100U) / 255U);
		}
	}
}
```
